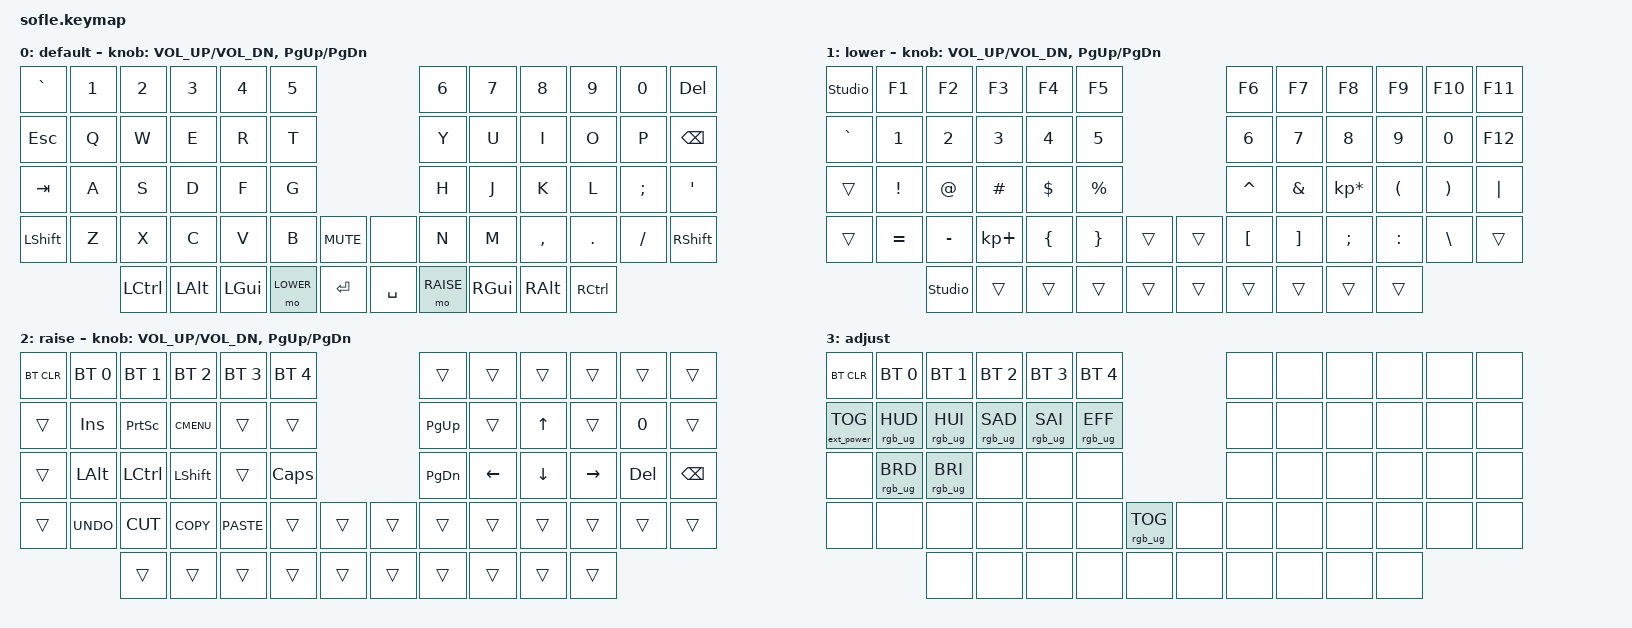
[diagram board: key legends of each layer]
/*
 * Copyright (c) 2020 The ZMK Contributors
 *
 * SPDX-License-Identifier: MIT
 */

#include <behaviors.dtsi>
#include <dt-bindings/zmk/bt.h>
#include <dt-bindings/zmk/ext_power.h>
#include <dt-bindings/zmk/keys.h>
#include <dt-bindings/zmk/rgb.h>

#define BASE 0
#define LOWER 1
#define RAISE 2
#define ADJUST 3

/ {
    // Activate ADJUST layer by pressing raise and lower

    conditional_layers {
        compatible = "zmk,conditional-layers";

        adjust_layer {
            if-layers = <LOWER RAISE>;
            then-layer = <ADJUST>;
        };
    };

    keymap {
        compatible = "zmk,keymap";

        default_layer {
            label = "default";

            bindings = <
&kp GRAVE  &kp N1  &kp N2    &kp N3    &kp N4     &kp N5                              &kp N6     &kp N7     &kp N8     &kp N9    &kp N0    &kp DELETE
&kp ESC    &kp Q   &kp W     &kp E     &kp R      &kp T                               &kp Y      &kp U      &kp I      &kp O     &kp P     &kp BSPC
&kp TAB    &kp A   &kp S     &kp D     &kp F      &kp G                               &kp H      &kp J      &kp K      &kp L     &kp SEMI  &kp SQT
&kp LSHFT  &kp Z   &kp X     &kp C     &kp V      &kp B      &kp C_MUTE    &none      &kp N      &kp M      &kp COMMA  &kp DOT   &kp FSLH  &kp RSHFT
                   &kp LCTRL  &kp LALT  &kp LGUI   &mo LOWER  &kp RET       &kp SPACE  &mo RAISE  &kp RGUI   &kp RALT   &kp RCTRL
            >;

            sensor-bindings = <&inc_dec_kp C_VOL_UP C_VOL_DN &inc_dec_kp PG_UP PG_DN>;
        };

        lower_layer {
            label = "lower";

            bindings = <
&studio_unlock     &kp F1     &kp F2     &kp F3       &kp F4    &kp F5                       &kp F6     &kp F7    &kp F8           &kp F9     &kp F10   &kp F11
&kp GRAVE  &kp N1     &kp N2     &kp N3       &kp N4    &kp N5                       &kp N6     &kp N7    &kp N8           &kp N9     &kp N0    &kp F12
&trans     &kp EXCL   &kp AT     &kp HASH     &kp DLLR  &kp PRCNT                    &kp CARET  &kp AMPS  &kp KP_MULTIPLY  &kp LPAR   &kp RPAR  &kp PIPE
&trans     &kp EQUAL  &kp MINUS  &kp KP_PLUS  &kp LBRC  &kp RBRC   &trans    &trans  &kp LBKT   &kp RBKT  &kp SEMI         &kp COLON  &kp BSLH  &trans
                      &studio_unlock     &trans       &trans    &trans     &trans    &trans  &trans     &trans    &trans           &trans
            >;

            sensor-bindings = <&inc_dec_kp C_VOL_UP C_VOL_DN &inc_dec_kp PG_UP PG_DN>;
        };

        raise_layer {
            label = "raise";

            bindings = <
&bt BT_CLR  &bt BT_SEL 0  &bt BT_SEL 1  &bt BT_SEL 2  &bt BT_SEL 3  &bt BT_SEL 4                    &trans     &trans    &trans    &trans     &trans   &trans
&trans      &kp INS       &kp PSCRN     &kp K_CMENU   &trans        &trans                          &kp PG_UP  &trans    &kp UP    &trans     &kp N0   &trans
&trans      &kp LALT      &kp LCTRL     &kp LSHFT     &trans        &kp CLCK                        &kp PG_DN  &kp LEFT  &kp DOWN  &kp RIGHT  &kp DEL  &kp BSPC
&trans      &kp K_UNDO    &kp K_CUT     &kp K_COPY    &kp K_PASTE   &trans        &trans    &trans  &trans     &trans    &trans    &trans     &trans   &trans
                          &trans        &trans        &trans        &trans        &trans    &trans  &trans     &trans    &trans    &trans
            >;

            sensor-bindings = <&inc_dec_kp C_VOL_UP C_VOL_DN &inc_dec_kp PG_UP PG_DN>;
        };

        adjust_layer {
            label = "adjust";
            bindings = <
&bt BT_CLR         &bt BT_SEL 0     &bt BT_SEL 1     &bt BT_SEL 2     &bt BT_SEL 3     &bt BT_SEL 4                               &none  &none  &none  &none  &none  &none
&ext_power EP_TOG  &rgb_ug RGB_HUD  &rgb_ug RGB_HUI  &rgb_ug RGB_SAD  &rgb_ug RGB_SAI  &rgb_ug RGB_EFF                            &none  &none  &none  &none  &none  &none
&none              &rgb_ug RGB_BRD  &rgb_ug RGB_BRI  &none            &none            &none                                      &none  &none  &none  &none  &none  &none
&none              &none            &none            &none            &none            &none            &rgb_ug RGB_TOG    &none  &none  &none  &none  &none  &none  &none
                                    &none            &none            &none            &none            &none              &none  &none  &none  &none  &none
            >;
        };
    };
};
